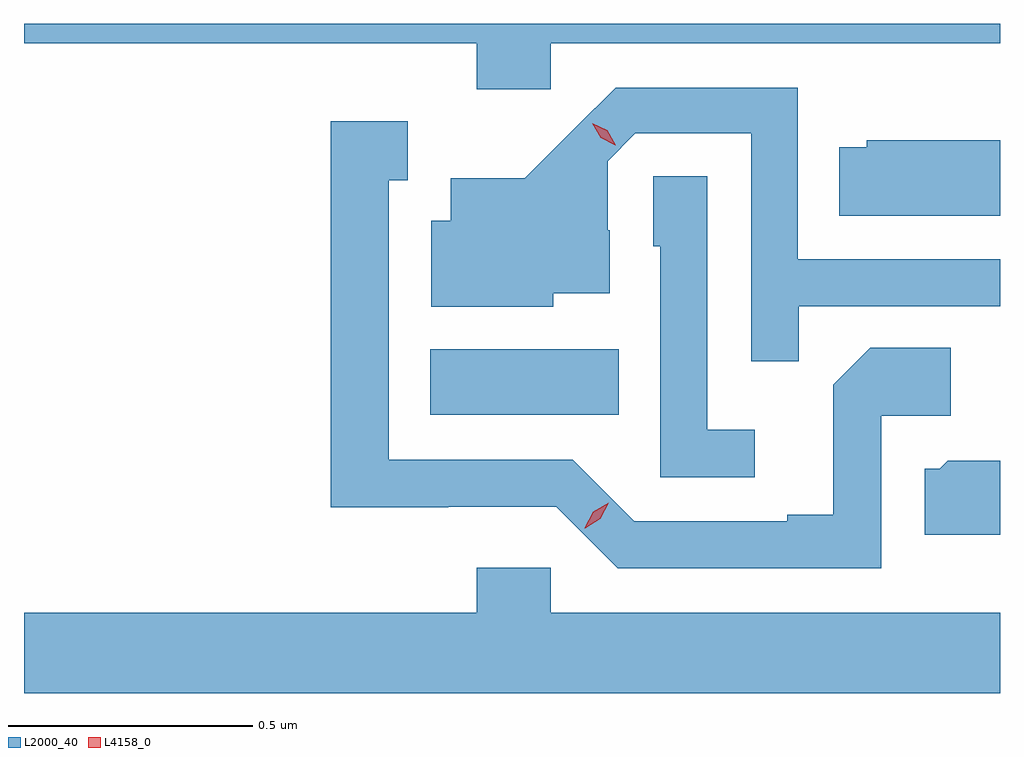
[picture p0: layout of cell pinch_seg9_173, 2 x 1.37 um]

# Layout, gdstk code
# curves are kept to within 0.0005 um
import gdstk
lib = gdstk.Library(unit=1e-6, precision=1e-09)
def R(c, l, rs):  # rectangles x0, y0, x1, y1
    for r in rs: c.add(gdstk.rectangle(r[:2], r[2:], *l))
def P(c, l, *ps):  # polygons
    for p in ps: c.add(gdstk.Polygon(p, *l))
L2000_40 = (2000, 40)
L4158_0 = (4158, 0)

pinch_seg9_173 = lib.new_cell('pinch_seg9_173')
R(pinch_seg9_173, L2000_40, [(645.749,1166.354,646.136,1166.488)])
P(pinch_seg9_173, L2000_40, [(645.996,1167.116),(646.917,1167.116),(646.917,1167.155),(644.917,1167.155),(644.917,1167.116),(645.845,1167.116),(645.845,1167.021),(645.996,1167.021)],
  [(646.505,1166.577),(646.917,1166.577),(646.917,1166.673),(646.503,1166.673),(646.503,1167.024),(646.13,1167.024),(645.943,1166.839),(645.791,1166.839),(645.791,1166.752),(645.752,1166.752),(645.752,1166.576),(646.002,1166.576),(646.002,1166.603),(646.117,1166.603),(646.117,1166.732),(646.113,1166.732),(646.113,1166.874),(646.17,1166.931),(646.407,1166.931),(646.407,1166.464),(646.505,1166.464)],
  [(646.674,1166.352),(646.816,1166.352),(646.816,1166.492),(646.651,1166.492),(646.575,1166.416),(646.575,1166.149),(646.481,1166.149),(646.481,1166.136),(646.167,1166.136),(646.041,1166.262),(645.664,1166.262),(645.664,1166.835),(645.703,1166.835),(645.703,1166.956),(645.546,1166.956),(645.546,1166.165),(645.786,1166.165),(645.786,1166.166),(646.008,1166.166),(646.134,1166.04),(646.674,1166.04)],
  [(646.917,1166.917),(646.644,1166.917),(646.644,1166.902),(646.588,1166.902),(646.588,1166.762),(646.917,1166.762)],
  [(646.414,1166.323),(646.317,1166.323),(646.317,1166.843),(646.206,1166.843),(646.206,1166.7),(646.221,1166.7),(646.221,1166.226),(646.414,1166.226)],
  [(646.917,1166.26),(646.81,1166.26),(646.794,1166.244),(646.763,1166.244),(646.763,1166.108),(646.917,1166.108)],
  [(646.917,1165.948),(645.996,1165.948),(645.996,1166.041),(645.845,1166.041),(645.845,1165.948),(644.917,1165.948),(644.917,1165.784),(646.917,1165.784)])
P(pinch_seg9_173, L4158_0, [(646.129,1166.907),(646.099,1166.922),(646.081,1166.952),(646.081,1166.952),(646.081,1166.952),(646.112,1166.937),(646.13,1166.907),(646.13,1166.907)],
  [(646.066,1166.122),(646.066,1166.123),(646.084,1166.155),(646.115,1166.174),(646.115,1166.174),(646.115,1166.174),(646.098,1166.141),(646.067,1166.122)])

lib.write_gds('pinch_seg9_173.gds')
